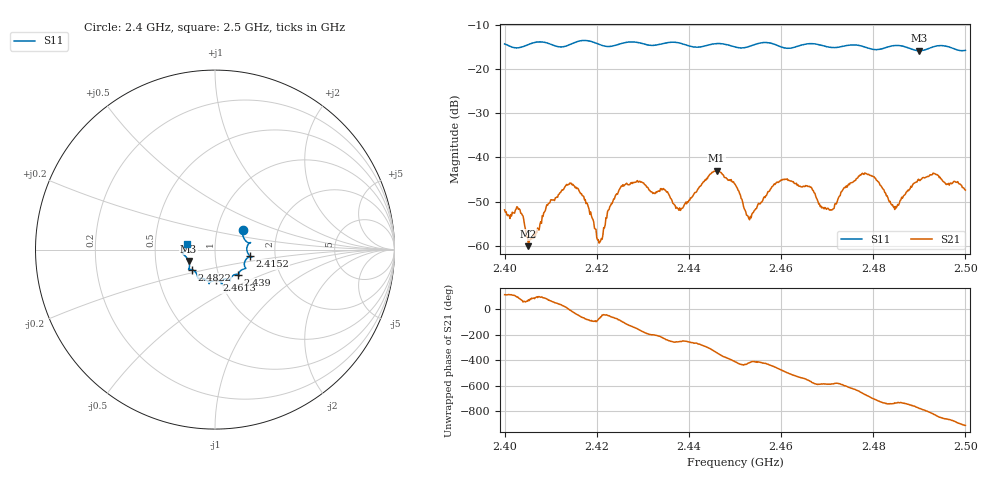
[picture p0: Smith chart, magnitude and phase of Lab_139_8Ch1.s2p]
# Hz S RI R 50
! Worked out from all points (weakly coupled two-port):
!   601 points, 2.4 GHz to 2.5 GHz, reference 50 ohm
!   highest |S21| = -42.99 dB at 2.446 GHz (marker M1); lowest = -60.0 dB at 2.4052 GHz (marker M2)
!   lowest |S11| = -15.9 dB at 2.49 GHz (marker M3), VSWR 1.38, Z = 36.9 - j4.83 ohm
!   |S11| at or under -10 dB: start of sweep to end of sweep
!   S12 and S22 are empty: the file has one direction only
!   S11 on the Smith chart (normalised r, x): 2.4 GHz: 1.33, +0.31; 2.4152 GHz: 1.48, -0.11; 2.439 GHz: 1.24, -0.36; 2.4613 GHz: 0.96, -0.34; 2.4822 GHz: 0.76, -0.17; 2.5 GHz: 0.73, +0.05
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2.4e9  0.1559 0.1112  -0.0011 0.00231  0 0  0 0
2.403167e9  0.1633 0.0591  0.000191 0.00263  0 0  0 0
2.405167e9  0.1842 0.0388  0.000258 0.000962  0 0  0 0
2.409667e9  0.1895 0.0345  0.000904 0.00291  0 0  0 0
2.415167e9  0.1947 -0.036  0.00418 -0.00224  0 0  0 0
2.416667e9  0.2044 -0.0419  0.00186 -0.00344  0 0  0 0
2.420667e9  0.1823 -0.0453  0.000392 -0.00103  0 0  0 0
2.4255e9  0.1675 -0.0989  -0.000543 -0.00469  0 0  0 0
2.433333e9  0.1329 -0.1328  -0.00366 0.00196  0 0  0 0
2.439e9  0.1279 -0.1391  -0.00104 0.00273  0 0  0 0
2.446e9  0.0844 -0.1737  0.00665 0.00245  0 0  0 0
2.45e9  0.0682 -0.1632  0.00312 -0.00389  0 0  0 0
2.453e9  0.0385 -0.1745  0.000993 -0.00178  0 0  0 0
2.461333e9  0.00763 -0.1706  -0.00427 -0.00383  0 0  0 0
2.466667e9  -0.0331 -0.19  -0.00374 0.0025  0 0  0 0
2.470833e9  -0.0514 -0.167  -0.00174 0.00184  0 0  0 0
2.477667e9  -0.0966 -0.152  0.00309 0.00587  0 0  0 0
2.482167e9  -0.1283 -0.1117  0.00425 -0.00105  0 0  0 0
2.483333e9  -0.1395 -0.1101  0.00308 -0.00119  0 0  0 0
2.485167e9  -0.1475 -0.1103  0.00274 -0.000709  0 0  0 0
2.49e9  -0.1469 -0.0638  0.00288 -0.0047  0 0  0 0
2.5e9  -0.1584 0.0337  -0.0042 0.000829  0 0  0 0
